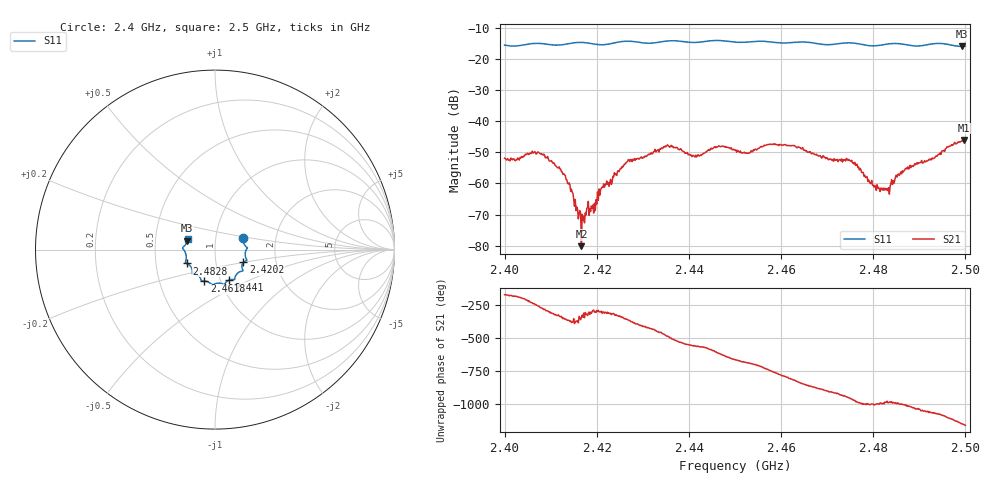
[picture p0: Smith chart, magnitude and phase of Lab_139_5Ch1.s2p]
# Hz S RI R 50
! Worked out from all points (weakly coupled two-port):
!   601 points, 2.4 GHz to 2.5 GHz, reference 50 ohm
!   highest |S21| = -46.01 dB at 2.4997 GHz (marker M1); lowest = -80.2 dB at 2.4167 GHz (marker M2)
!   lowest |S11| = -15.8 dB at 2.4992 GHz (marker M3), VSWR 1.39, Z = 36.5 + j3.67 ohm
!   |S11| at or under -10 dB: start of sweep to end of sweep
!   S12 and S22 are empty: the file has one direction only
!   S11 on the Smith chart (normalised r, x): 2.4 GHz: 1.36, +0.18; 2.4202 GHz: 1.36, -0.20; 2.441 GHz: 1.10, -0.39; 2.4618 GHz: 0.84, -0.30; 2.4828 GHz: 0.72, -0.11; 2.5 GHz: 0.73, +0.09
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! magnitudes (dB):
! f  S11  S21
! 2.4 GHz  -15.4  -51.9
! 2.409 GHz  -15.1  -51.6
! 2.413 GHz  -15.2  -57.2
! 2.4167 GHz  -14.5  -80.2
! 2.4202 GHz  -15.2  -62.7
! 2.421 GHz  -15.3  -61.5
! 2.4265 GHz  -14.1  -53.2
! 2.4333 GHz  -14.5  -49.1
! 2.4358 GHz  -14.0  -48.3
! 2.441 GHz  -14.6  -51.0
! 2.4462 GHz  -13.9  -48.2
! 2.45 GHz  -14.5  -49.3
! 2.4618 GHz  -14.6  -47.8
! 2.4667 GHz  -14.6  -50.5
! 2.4748 GHz  -14.7  -52.5
! 2.4803 GHz  -15.6  -60.6
! 2.4828 GHz  -15.1  -62.1
! 2.4833 GHz  -15.0  -61.4
! 2.487 GHz  -15.2  -55.2
! 2.4992 GHz  -15.8  -46.3
! 2.4997 GHz  -15.8  -46.0
! 2.5 GHz  -15.7  -46.4
